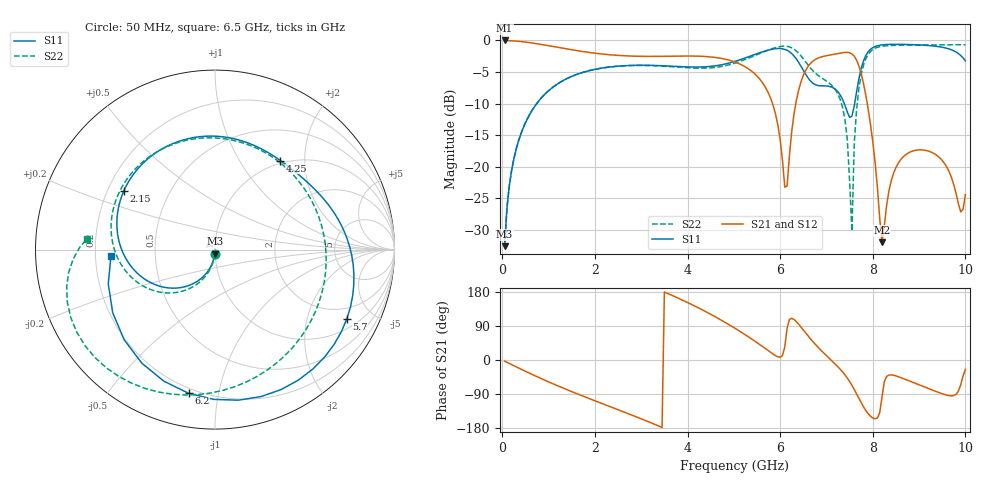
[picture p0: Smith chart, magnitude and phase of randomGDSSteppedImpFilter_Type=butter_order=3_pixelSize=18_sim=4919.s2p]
! freq	dB(S11)	phase(S11)	dB(S12)	phase(S12)
!  dB(S21)	phase(S21)	dB(S22)	phase(S22)
!S-par simulation data
#  GHz  S  DB  R 50
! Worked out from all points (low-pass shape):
!   200 points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, 50 MHz to 10 GHz, reference 50 ohm
!   highest |S21| = -0.01 dB at 50 MHz (marker M1); lowest = -32.0 dB at 8.2 GHz (marker M2)
!   |S21| within 3 dB of the highest: start of sweep to 4.834 GHz; 6.764 GHz to 7.641 GHz (877.3 MHz wide, 12.2 % of centre)
!   lowest |S11| = -32.6 dB at 50 MHz (marker M3), VSWR 1.05, Z = 49.8 - j2.34 ohm
!   |S11| at or under -10 dB: start of sweep to 743.7 MHz; 7.384 GHz to 7.608 GHz (224.2 MHz wide, 2.99 % of centre)
!   |S22| runs from -32.6 to -0.7 dB; largest |S21 - S12| = 0
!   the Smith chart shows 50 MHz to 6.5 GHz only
!   S11 on the Smith chart (normalised r, x): 50 MHz: 1.00, -0.05; 2.15 GHz: 0.27, +0.27; 4.25 GHz: 0.96, +1.53; 5.7 GHz: 1.42, -3.52; 6.2 GHz: 0.17, -0.82; 6.5 GHz: 0.27, -0.03
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0.05  -32.58 -93.3  -0.01 -3.1  -0.01 -3.1  -32.57 -92.9
0.2  -20.64 -103.3  -0.06 -12.1  -0.06 -12.1  -20.63 -101.7
0.5  -13.04 -122.3  -0.26 -29.8  -0.26 -29.8  -13.03 -118.3
1.75  -5.04 167.3  -1.77 -95.7  -1.77 -95.7  -5.04 -179.9
2.15  -4.38 147.4  -2.15 -114.7  -2.15 -114.7  -4.38 162.1
3.4  -3.99 89.2  -2.52 -175.3  -2.52 -175.3  -4.05 99.6
4.25  -4.21 53.7  -2.50 136.6  -2.50 136.6  -4.40 39.5
5.05  -3.25 19.2  -3.49 81.8  -3.49 81.8  -3.53 -36.5
5.7  -1.62 -27.7  -7.67 28.5  -7.67 28.5  -1.65 -101.6
6.1  -1.42 -81.2  -23.23 34.3  -23.23 34.3  -0.91 -143.5
6.2  -1.79 -100.5  -18.24 107.0  -18.24 107.0  -1.03 -154.8
6.5  -4.72 -176.7  -5.55 79.3  -5.55 79.3  -2.91 175.1
6.7  -6.74 123.2  -3.33 49.5  -3.33 49.5  -4.73 164.3
7.35  -9.37 9.1  -1.94 -31.8  -1.94 -31.8  -10.66 127.2
7.55  -11.99 32.1  -2.14 -66.8  -2.14 -66.8  -30.16 -103.2
7.6  -10.38 43.2  -2.50 -77.7  -2.50 -77.7  -16.38 -98.3
7.7  -6.08 44.4  -4.03 -101.3  -4.03 -101.3  -7.63 -118.8
7.95  -1.41 9.1  -13.27 -148.2  -13.27 -148.2  -1.76 -166.9
8.2  -0.71 -17.7  -31.98 -96.7  -31.98 -96.7  -0.93 165.1
8.35  -0.63 -29.7  -23.79 -39.8  -23.79 -39.8  -0.82 153.4
9.4  -0.96 -96.7  -18.30 -84.7  -18.30 -84.7  -0.70 98.2
10  -3.23 -176.2  -24.42 -24.7  -24.42 -24.7  -0.71 70.7
